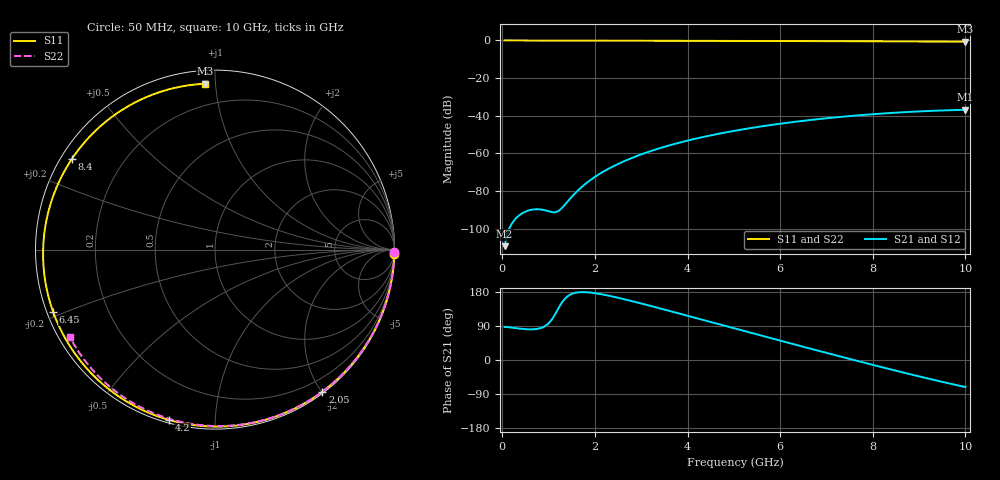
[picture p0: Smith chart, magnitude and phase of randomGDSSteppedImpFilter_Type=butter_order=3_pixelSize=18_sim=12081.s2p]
! freq	dB(S11)	phase(S11)	dB(S12)	phase(S12)
!  dB(S21)	phase(S21)	dB(S22)	phase(S22)
!S-par simulation data
#  GHz  S  DB  R 50
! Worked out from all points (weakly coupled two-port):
!   200 points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, 50 MHz to 10 GHz, reference 50 ohm
!   highest |S21| = -36.83 dB at 10 GHz (marker M1); lowest = -109.3 dB at 50 MHz (marker M2)
!   lowest |S11| = -0.7 dB at 10 GHz (marker M3), VSWR 25.88, Z = 3.64 + j46.9 ohm
!   |S11| at or under -10 dB: nowhere
!   |S22| runs from -0.5 to 0.0 dB; largest |S21 - S12| = 0
!   S11 on the Smith chart (normalised r, x): 50 MHz: 1, -88; 2.05 GHz: 0.02, -2.01; 4.2 GHz: 0.01, -0.77; 6.45 GHz: 0.02, -0.19; 8.4 GHz: 0.03, +0.29; 10 GHz: 0.07, +0.94
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0.05  -0.00 -1.3  -109.28 87.2  -109.28 87.2  -0.00 -0.9
0.8  -0.03 -21.0  -89.69 83.2  -89.69 83.2  -0.02 -13.8
1.6  -0.05 -41.6  -80.47 177.8  -80.47 177.8  -0.03 -27.3
1.75  -0.06 -45.4  -77.09 179.1  -77.09 179.1  -0.04 -29.8
2.05  -0.07 -52.9  -71.67 175.4  -71.67 175.4  -0.04 -34.8
2.35  -0.08 -60.4  -67.42 168.3  -67.42 168.3  -0.05 -39.7
2.65  -0.09 -67.8  -63.93 159.9  -63.93 159.9  -0.06 -44.6
3.4  -0.11 -86.0  -57.23 136.3  -57.23 136.3  -0.08 -56.6
4.2  -0.15 -105.0  -52.03 110.1  -52.03 110.1  -0.10 -69.0
5.05  -0.19 -125.0  -47.84 82.1  -47.84 82.1  -0.13 -81.7
5.8  -0.25 -142.9  -44.91 57.5  -44.91 57.5  -0.16 -92.5
6.45  -0.30 -158.8  -42.83 36.4  -42.83 36.4  -0.19 -101.6
6.7  -0.32 -165.1  -42.12 28.4  -42.12 28.4  -0.20 -105.1
7.15  -0.36 -176.8  -40.97 14.0  -40.97 14.0  -0.23 -111.2
7.55  -0.41 172.4  -40.06 1.3  -40.06 1.3  -0.26 -116.6
7.95  -0.45 161.1  -39.27 -11.3  -39.27 -11.3  -0.29 -122.0
8.35  -0.50 149.3  -38.58 -23.7  -38.58 -23.7  -0.33 -127.3
8.4  -0.50 147.7  -38.50 -25.2  -38.50 -25.2  -0.33 -127.9
8.85  -0.55 133.5  -37.87 -38.8  -37.87 -38.8  -0.37 -133.9
9.3  -0.60 118.5  -37.36 -52.0  -37.36 -52.0  -0.42 -139.8
9.65  -0.64 106.2  -37.06 -61.9  -37.06 -61.9  -0.46 -144.5
10  -0.67 93.5  -36.83 -71.3  -36.83 -71.3  -0.50 -149.1
